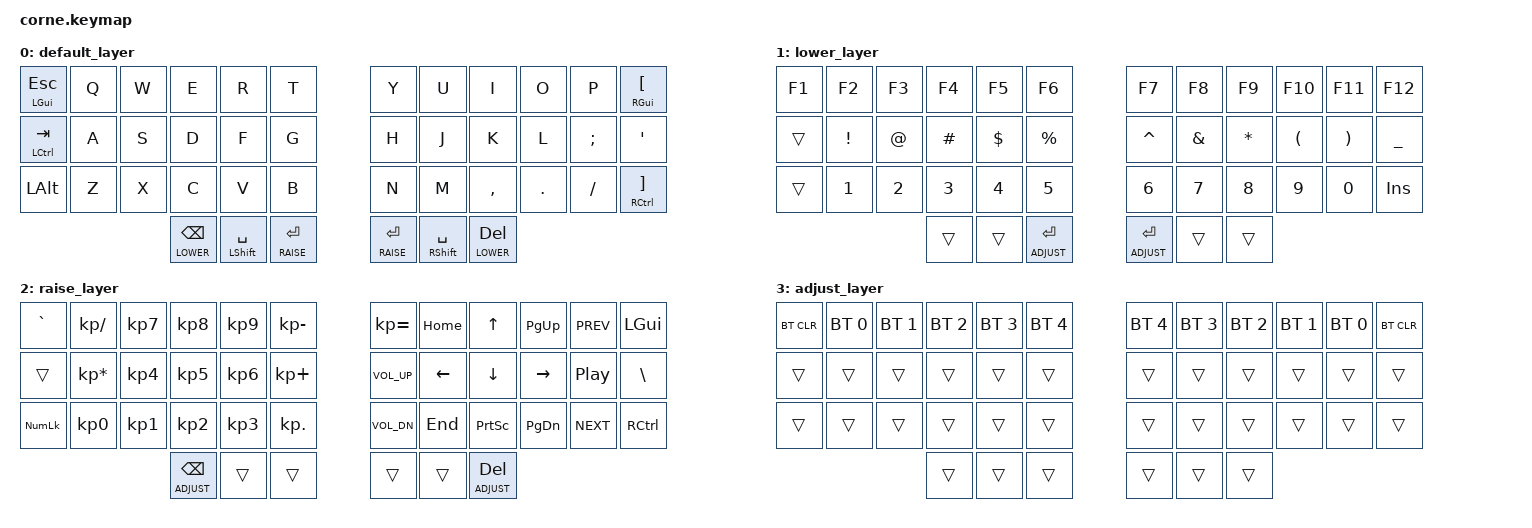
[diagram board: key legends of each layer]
/*
 * Copyright (c) 2020 The ZMK Contributors
 *
 * SPDX-License-Identifier: MIT
 */

#include <behaviors.dtsi>
#include <dt-bindings/zmk/keys.h>
#include <dt-bindings/zmk/bt.h>

#define DEFAULT 0
#define LOWER   1
#define RAISE   2
#define ADJUST  3

&lt { quick_tap_ms = <200>; };
&mt { quick_tap_ms = <200>; };

/ {
        keymap {
                compatible = "zmk,keymap";

                default_layer {
// -----------------------------------------------------------------------------------------
// | LGUI ESC |  Q  |  W  |  E  |  R  |  T  |   |  Y  |  U   |  I  |  O  |  P  | RGUI [    |
// | CTRL TAB |  A  |  S  |  D  |  F  |  G  |   |  H  |  J   |  K  |  L  |  ;  |  '        |
// | LALT     |  Z  |  X  |  C  |  V  |  B  |   |  N  |  M   |  ,  |  .  |  /  | RCTRL ]   |
//   | LOWER BSPC | SHIFT SPACE | RAISE ENT |   | RAISE ENT | SHIFT SPACE  | LOWER DEL |
                        bindings = <
   &mt LGUI ESC   &kp Q &kp W &kp E &kp R &kp T   &kp Y &kp U  &kp I     &kp O   &kp P    &mt RGUI LBKT
   &mt LCTRL TAB  &kp A &kp S &kp D &kp F &kp G   &kp H &kp J  &kp K     &kp L   &kp SEMI &kp SQT
   &kp LALT       &kp Z &kp X &kp C &kp V &kp B   &kp N &kp M  &kp COMMA &kp DOT &kp FSLH &mt RCTRL RBKT
   &lt LOWER BSPC  &mt LSHIFT SPACE &lt RAISE ENTER &lt RAISE ENTER &mt RSHIFT SPACE &lt LOWER DEL
                        >;
                };
                lower_layer {
// --------------------------------------------------------------------------------------------
// | F1     | F2   | F3 | F4   | F5   | F6    |   | F7    | F8   | F9   | F10  | F11  | F12   |
// | &trans | EXCL | AT | HASH | DLLR | PRCNT |   | CARET | AMPS | STAR | LPAR | RPAR | UNDER |
// | &trans | N1   | N2 | N3   | N4   | N5    |   | N6    | N7   | N8   | N9   | N0   | INS   |
//                 | &trans | &trans | &trans |   | &trans | &trans | &trans |
                        bindings = <
   &kp F1  &kp F2   &kp F3 &kp F4   &kp F5    &kp F6      &kp F7    &kp F8   &kp F9   &kp F10   &kp F11   &kp F12
   &trans  &kp EXCL &kp AT &kp HASH &kp DLLR  &kp PRCNT   &kp CARET &kp AMPS &kp STAR &kp LPAR  &kp RPAR  &kp UNDER
   &trans  &kp N1   &kp N2 &kp N3   &kp N4    &kp N5      &kp N6    &kp N7   &kp N8   &kp N9    &kp N0    &kp INS
                 &trans   &trans    &lt ADJUST ENTER      &lt ADJUST ENTER  &trans   &trans
                        >;
                };

                raise_layer {
// ------------------------------------------------------------------------------------------------------------------
// | GRAVE   | KP_SLASH    | KP_N7 | KP_N8 | KP_N9 | KP_MINUS |   | KP_EQUAL | HOME | UP    | PG_UP | C_PREV | LGUI  |
// | &trans  | KP_ASTERISK | KP_N4 | KP_N5 | KP_N6 | KP_PLUS  |   | C_VOL_UP | LEFT | DOWN  | RIGHT | C_PP   | BSLH  |
// | KP_NLCK | KP_N0       | KP_N1 | KP_N2 | KP_N3 | KP_DOT   |   | C_VOL_DN | END  | PSCRN | PG_DN | C_NEXT | RCTRL |
//                                 | &trans | &trans | &trans |   | &trans | &trans | &trans |
                        bindings = <
   &kp GRAVE   &kp KP_SLASH     &kp KP_N7  &kp KP_N8  &kp KP_N9  &kp KP_MINUS    &kp KP_EQUAL  &kp HOME  &kp UP    &kp PG_UP  &kp C_PREV  &kp LGUI
   &trans      &kp KP_ASTERISK  &kp KP_N4  &kp KP_N5  &kp KP_N6  &kp KP_PLUS     &kp C_VOL_UP  &kp LEFT  &kp DOWN  &kp RIGHT  &kp C_PP    &kp BSLH
   &kp KP_NLCK &kp KP_N0        &kp KP_N1  &kp KP_N2  &kp KP_N3  &kp KP_DOT      &kp C_VOL_DN  &kp END   &kp PSCRN &kp PG_DN  &kp C_NEXT  &kp RCTRL
                    	         &lt ADJUST BSPC  &trans   &trans  &trans   &trans    &lt ADJUST DEL
                        >;
                };

                adjust_layer {
// -------------------------------------------------------------------------------------------------------
// | BT_CLR | BT_SEL 0 | BT_SEL 1 | BT_SEL 2 | BT_SEL 3 | BT_SEL 4 |   | BT_SEL 4 | BT_SEL 3 | BT_SEL 2 | BT_SEL 1 | BT_SEL 0 | BT_CLR |
// |        |          |          |          |          |          |   |          |          |          |          |          |        |
// |        |          |          |          |          |          |   |          |          |          |          |          |        |
//                                                        |  |  |  |   |  |  |  |
                        bindings = <
   &bt BT_CLR  &bt BT_SEL 0  &bt BT_SEL 1  &bt BT_SEL 2  &bt BT_SEL 3  &bt BT_SEL 4    &bt BT_SEL 4 &bt BT_SEL 3 &bt BT_SEL 2 &bt BT_SEL 1 &bt BT_SEL 0 &bt BT_CLR
   &trans      &trans        &trans        &trans        &trans        &trans          &trans       &trans       &trans       &trans           &trans       &trans
   &trans      &trans        &trans        &trans        &trans        &trans          &trans       &trans       &trans       &trans           &trans       &trans
                    	                     &trans        &trans        &trans          &trans       &trans       &trans
                        >;
                };
        };
};
